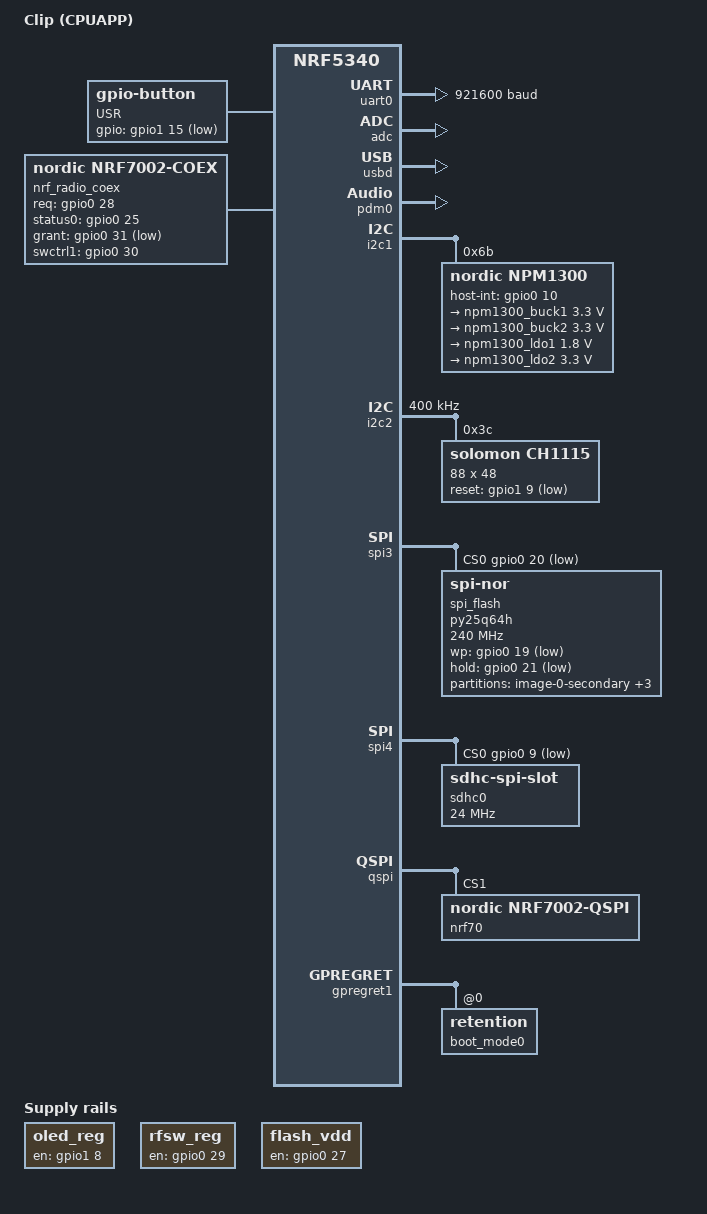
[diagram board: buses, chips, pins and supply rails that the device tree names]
/dts-v1/;
#include <nordic/nrf5340_cpuapp_qkaa.dtsi>
#include "clip-pinctrl.dtsi"
#include <zephyr/dt-bindings/sensor/lsm6dso.h>
#include <dt-bindings/regulator/npm13xx.h>

&uicr {
	nfct-pins-as-gpios;
};

/ {
	model = "Clip (CPUAPP)";
	compatible = "seeed,clip-cpuapp";

	usr_btn: button {
		compatible = "gpio-button";
		gpios = <&gpio1 15 (GPIO_PULL_UP | GPIO_ACTIVE_LOW)>;
		label = "USR";
		debounce-ms = <30>;
		long-press-ms = <1000 3000>;
		double-click-ms = <200>;
		status = "okay";
	};

	/* Microphone power - alias to npm1300 LDO1 (1.8V), controlled by audio.c */

	/* SD card power - NPM1300 LDO2 (3.3V) via PMIC GPIO3 */

	oled_reg: regulator-oled {
		compatible = "regulator-fixed";
		regulator-name = "oled_vdd";
		enable-gpios = <&gpio1 8 GPIO_ACTIVE_HIGH>;
		regulator-boot-on;
		status = "okay";
	};

	/* WiFi RF switch regulator */
	rfsw_reg: regulator-rfsw {
		compatible = "regulator-fixed";
		regulator-name = "rfsw_vdd";
		regulator-always-on;
		enable-gpios = <&gpio0 29 GPIO_ACTIVE_HIGH>;
		status = "okay";
	};

	/* SPI flash power (P0.27), dip switch on Lav, power button on next rev */
	flash_vdd: regulator-flash {
		compatible = "regulator-fixed";
		regulator-name = "flash_vdd";
		regulator-boot-on;
		enable-gpios = <&gpio0 27 GPIO_ACTIVE_HIGH>;
		status = "okay";
	};


	chosen {
		zephyr,sram = &sram0_image;
		zephyr,flash = &flash0;
		zephyr,code-partition = &slot0_partition;
		zephyr,sram-secure-partition = &sram0_s;
		zephyr,sram-non-secure-partition = &sram0_ns;
		zephyr,console = &uart0;
		zephyr,shell-uart = &uart0;
		zephyr,bt-hci = &bt_hci_ipc0;
		nordic,802154-spinel-ipc = &ipc0;
		zephyr,ieee802154 = &ieee802154;
		zephyr,wifi = &wlan0;
		nordic,pm-ext-flash = &spi_flash;
		zephyr,display = &ch1115;
		zephyr,boot-mode = &boot_mode0;
	};
	aliases {
		dmic0 = &pdm0;
		sw0 = &usr_btn;
	};

	nrf_radio_coex: coex {
		status = "okay";
		compatible = "nordic,nrf7002-coex";
		req-gpios = <&gpio0 28 GPIO_ACTIVE_HIGH>;
		status0-gpios = <&gpio0 25 GPIO_ACTIVE_HIGH>;
		grant-gpios = <&gpio0 31 (GPIO_PULL_DOWN | GPIO_ACTIVE_LOW)>;
		swctrl1-gpios = <&gpio0 30 GPIO_ACTIVE_HIGH>;
	};
};

&gpiote {
	status = "okay";
};

&gpio0 {
	status = "okay";
};

&gpio1 {
	status = "okay";
};

&gpiote {
	status = "okay";
};

&uart0 {
	status = "okay";
	current-speed = <921600>;
	pinctrl-0 = <&uart0_default>;
	pinctrl-1 = <&uart0_sleep>;
	pinctrl-names = "default", "sleep";
};

&adc {
	status = "okay";
};

&usbd {
	status = "okay";

	cdc_acm_uart: cdc_acm_uart {
		compatible = "zephyr,cdc-acm-uart";
	};
};

&clock {
	hfclkaudio-frequency = <12288000>;
};

/* Switch the nRF5340 internal regulators from the SDK default LDO to DCDC.
 * The Clip board has the 10µH DCDC inductors (L1, L2) populated; in LDO mode
 * the suspend/idle current is ~500-600µA higher. Matches the nRF5340+nRF7022
 * reference (nrf7002dk) and samples/suspend_to_ram. */
&vregmain {
	regulator-initial-mode = <NRF5X_REG_MODE_DCDC>;
};

&vregradio {
	regulator-initial-mode = <NRF5X_REG_MODE_DCDC>;
};

&pdm0 {
	status = "okay";
	pinctrl-0 = <&pdm0_default>;
	pinctrl-names = "default";
	clock-source = "PCLK32M_HFXO";
	queue-size = <32>;
};

&i2c1 {
	status = "okay";
	pinctrl-0 = <&i2c1_default>;
	pinctrl-1 = <&i2c1_sleep>;
	pinctrl-names = "default", "sleep";

	npm1300: pmic@6b {
		compatible = "nordic,npm1300";
		reg = <0x6b>;
		status = "okay";
		/* Long press 3s to wake from hibernate mode */
		ship-to-active-time-ms = <1008>;
		/* NPM1300 GPIO1 → gpio0.10 for interrupt (GPOIRQ mode) */
		host-int-gpios = <&gpio0 10 GPIO_ACTIVE_HIGH>;
		pmic-int-pin = <1>;

		npm1300_gpio: gpio-controller {
			compatible = "nordic,npm1300-gpio";
			gpio-controller;
			#gpio-cells = <2>;
			ngpios = <5>;
			status = "okay";
		};

		npm1300_regulators: regulators {
			compatible = "nordic,npm1300-regulator";

			/* BUCK1: MOTOR_3V3 - Vibration motor power */
			npm1300_buck1: BUCK1 {
				regulator-min-microvolt = <3300000>;
				regulator-max-microvolt = <3300000>;
				regulator-init-microvolt = <3300000>;
				enable-gpio-config = <NPM13XX_GPIO_CHAN_1 GPIO_ACTIVE_HIGH>;
				/* Motor controlled by P1.06 via PMIC GPIO1 */
			};

			/* BUCK2: VDD_3V3 - Main system power */
			npm1300_buck2: BUCK2 {
				regulator-min-microvolt = <3300000>;
				regulator-max-microvolt = <3300000>;
				regulator-init-microvolt = <3300000>;
				regulator-always-on;
				regulator-boot-on;
			};

			/* LDO1: VDDMIC_1V8 - Microphone power */
			npm1300_ldo1: LDO1 {
				regulator-min-microvolt = <1800000>;
				regulator-max-microvolt = <1800000>;
				regulator-init-microvolt = <1800000>;
				regulator-initial-mode = <2>;
				startup-delay-us = <1000>;
			};

			/* LDO2: VDD_SD - SD card power, controlled by PMIC GPIO3 */
			npm1300_ldo2: LDO2 {
				regulator-min-microvolt = <3300000>;
				regulator-max-microvolt = <3300000>;
				regulator-init-microvolt = <3300000>;
				/* The PMIC powers LDO2 by default.  Start with VDD_SD
				 * off so each runtime regulator_enable() has exactly one
				 * matching regulator_disable(). */
				regulator-boot-off;
				enable-gpio-config = <NPM13XX_GPIO_CHAN_3 GPIO_ACTIVE_HIGH>;
				startup-delay-us = <1000>;
			};
		};
		npm1300_charger: charger {
			compatible = "nordic,npm1300-charger";
			/* Charge termination raised 4.20→4.25V so the fuel gauge
			 * reaches ~100% instead of plateauing at ~99%. The cell
			 * (240/HSZ 362123) is a 4.20V-rated Li-Po; 4.25V is a
			 * mild overcharge. Tradeoff: reduced cycle life. */
			term-microvolt = <4250000>;
			term-warm-microvolt = <4100000>;
			current-microamp = <220000>;
			dischg-limit-microamp = <1000000>;
			vbus-limit-microamp = <500000>;
			thermistor-ohms = <10000>;
			thermistor-beta = <3380>;
			/* JEITA battery-temperature profile (TS-pin NTC). The NPM1300
			 * classifies the cell into cold/cool/normal/warm/hot zones
			 * autonomously (works even if the MCU hangs) — defense in depth
			 * alongside the software gate in battery.c.
			 *   cold <0C   : charge inhibit (Li-Po plating protection)
			 *   cool 0-10C : reduced current (ICOOL)
			 *   warm 40-45C: charge to term-warm-microvolt (4.10V, not 4.25V)
			 *   hot  >45C  : HARD charge inhibit
			 * NOTE: the NTC path has NO register hysteresis (only the
			 * die-temp pair below does), so battery.c latches OFF at 45C
			 * and only re-enables at 40C to stop boundary oscillation.
			 * term-warm-microvolt (4.10V above) only takes effect once
			 * thermistor-warm-millidegrees is set. */
			thermistor-cold-millidegrees = <0>;
			thermistor-cool-millidegrees = <10000>;
			thermistor-warm-millidegrees = <40000>;
			thermistor-hot-millidegrees   = <45000>;
			/* PMIC die (silicon) overheat protection — the charger IC's own
			 * temperature, separate from the cell. Explicit stop/resume
			 * hysteresis (the only thermal pair with register-level
			 * hysteresis on the NPM1300). Conservative values; 85C is well
			 * below the chip's max junction temp and won't trip in normal
			 * charging. */
			dietemp-stop-millidegrees   = <85000>;
			dietemp-resume-millidegrees = <75000>;
			charging-enable;
			/* Allow charging a deeply discharged battery (below VBATLOW),
			 * e.g. after the protection IC trips at ~2.4V. Without this the
			 * charger refuses to activate and the battery cannot recover. */
			vbatlow-charge-enable;
		};
	};
};

&i2c2 {
	status = "okay";
	pinctrl-0 = <&i2c2_default>;
	pinctrl-1 = <&i2c2_sleep>;
	pinctrl-names = "default", "sleep";
	clock-frequency = <400000>;
	zephyr,concat-buf-size = <96>;
	zephyr,flash-buf-max-size = <96>;

	ch1115: oled@3c {
		compatible = "solomon,ch1115";
		reg = <0x3c>;
		reset-gpios = <&gpio1 9 GPIO_ACTIVE_LOW>;
		width = <88>;
		height = <48>;  /* Actual display resolution */
		segment-offset = <0>;
		page-offset = <1>;  /* +1 page (8 pixels) to center content visually */
		display-offset = <0>;  /* Hardware COM start from 0 */
		multiplex-ratio = <63>;  /* Activate all 64 COM lines */
		prechargep = <0x22>;
		segment-remap = <0>;
		com-invdir = <0>;
		status = "okay";
	};
};


&spi3 {
	compatible = "nordic,nrf-spim";
	status = "okay";
	pinctrl-0 = <&spi3_default>;
	pinctrl-1 = <&spi3_sleep>;
	pinctrl-names = "default", "sleep";
	cs-gpios = <&gpio0 20 GPIO_ACTIVE_LOW>;

	spi_flash: py25q64h@0 {
		compatible = "jedec,spi-nor";
		status = "okay";
		reg = <0>;
		spi-max-frequency = <240000000>;
		quad-enable-requirements = "S2B1v1";
		wp-gpios = <&gpio0 19 GPIO_ACTIVE_LOW>;
		hold-gpios = <&gpio0 21 GPIO_ACTIVE_LOW>;
		jedec-id = [ 85 20 17  ];
		sfdp-bfp = [ e5 20 f1 ff ff ff ff 00 44 eb 08 6b 08 3b 80 bb ee ff ff ff ff ff 00 ff ff ff 00 ff 0c 20 0f 52 10 d8 08 81  ];
		size = <DT_SIZE_M(64)>;
			has-dpd;

		partitions {
			compatible = "fixed-partitions";
			#address-cells = <1>;
			#size-cells = <1>;

			/* OTA slot 0: App image (960KB) */
			slot0_secondary: partition@0 {
				label = "image-0-secondary";
				reg = <0x00000000 0x000F0000>;
			};

			/* OTA slot 1: Netcore image (256KB) */
			slot1_secondary: partition@f0000 {
				label = "image-1-secondary";
				reg = <0x000F0000 0x00040000>;
			};

			/* Experimental layout: back up and migrate/recreate existing
			 * LittleFS before shrinking it. Last 128KB holds the WiFi patch.
			 */
			lfs_partition: partition@130000 {
				label = "lfs-storage";
				reg = <0x00130000 0x006B0000>;
			};

			nrf70_wifi_fw_partition: partition@7e0000 {
				label = "nrf70-wifi-fw";
				reg = <0x007E0000 0x00020000>;
			};
		};
	};
};

&spi4 {
	compatible = "nordic,nrf-spim";
	status = "okay";
	pinctrl-0 = <&spi4_default>;
	pinctrl-1 = <&spi4_sleep>;
	pinctrl-names = "default", "sleep";
	cs-gpios = <&gpio0 9 GPIO_ACTIVE_LOW>;

	sdhc0: sdhc@0 {
		compatible = "zephyr,sdhc-spi-slot";
		reg = <0>;
		status = "okay";
		mmc {
			compatible = "zephyr,sdmmc-disk";
			status = "okay";
			disk-name = "SD";
		};
		spi-max-frequency = <24000000>;
	};
};


&qspi {
	pinctrl-0 = <&qspi_default>;
	pinctrl-1 = <&qspi_sleep>;
	pinctrl-names = "default", "sleep";
	status = "okay";
	nrf70: nrf7002@1 {
		compatible = "nordic,nrf7002-qspi";
		status = "okay";
		reg = <1>;
		qspi-frequency = <24000000>;
		qspi-quad-mode;
		#include "nrf70_common.dtsi"
		#include "nrf70_common_5g.dtsi"
	};
};

#include "clip-cpuapp_partitioning.dtsi"
#include "clip-shared_sram.dtsi"

/* Boot mode retention via GPREGRET1 - used by MCUboot serial recovery */
&gpregret1 {
	boot_mode0: boot_mode@0 {
		compatible = "zephyr,retention";
		status = "okay";
		reg = <0x0 0x1>;
	};
};
